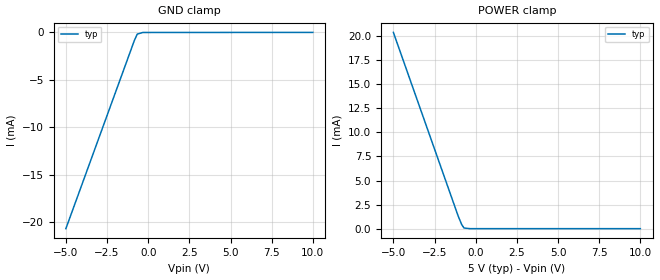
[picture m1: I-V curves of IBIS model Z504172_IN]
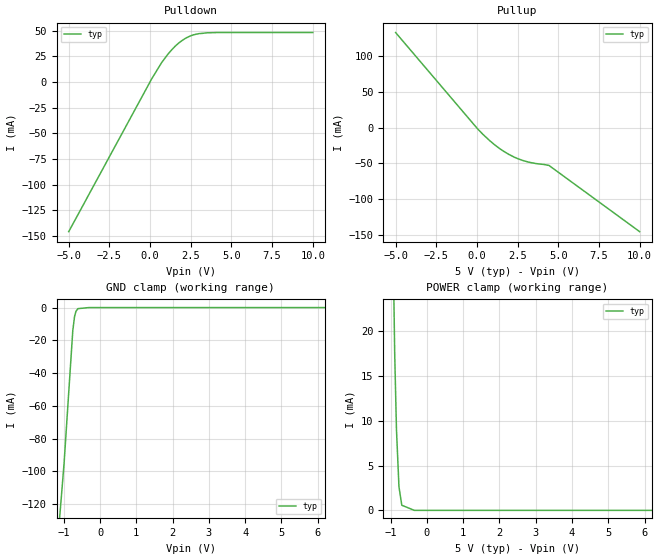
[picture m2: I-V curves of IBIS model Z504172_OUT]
| YOU ARE ONLY AUTHORIZED TO USE THIS SOFTWARE
| ACCORDING TO LICENSOR'S LICENSE RESTRICTIONS.
[IBIS Ver] 3.1
[File Name] mc74hc164d.ibs
[File Rev] 2.0
[Source] Measured and created by ICX Technology
[Date] Friday 7/14/00 9:08:08 AM
[Copyright]
| (C) COPYRIGHT 1993-2000
| MENTOR GRAPHICS CORPORATION
| ICX STANDARD LIBRARY, ICX PROJECT MODELING,
| ICX CUSTOM MODELING, ICX VENDOR MODEL
| ALL RIGHTS RESERVED.
| THE FOLLOWING ARE TRADEMARKS OR SERVICE MARKS OF
| MENTOR GRAPHICS CORPORATION:ICX (R), ICX STANDARD
| LIBRARY(R), ICX PROJECT MODELING(R), ICX CUSTOM
| MODELING(R), qualityIBIS(TM), MODELVIEWER(TM),
| AND MODELEDITOR(TM)
| ALL COPIES OF SOFTWARE, INCLUDING BUT NOT LIMITED TO
| ANY MODIFICATIONS, ENHANCEMENTS OR DERIVATIVE WORKS,
| MUST CONTAIN ALL MENTOR GRAPHICS CORPORATION'S
| NOTICES AND LEGENDS, INCLUDING THOSE EMBEDDED IN
| SOFTWARE AND THOSE AFFIXED TO SOFTWARE MEDIUM
| AND CONTAINER, AS RECEIVED FROM MENTOR GRAPHICS
| CORPORATION.
|  ZAP Model Builder 2.7
[Component] MC74HC164D
[Manufacturer] OnSemiconductor
[Package]
| variable   typ   min   max
R_pkg  .155ohms NA NA
L_pkg  3.028nH NA NA
C_pkg  .381pF NA NA
[Pin] signal_name  model_name  R_pin  L_pin C_pin
1 A Z504172_IN .16 3.587n .407p
2 B Z504172_IN .156 3.147n .387p
3 QA Z504172_OUT .152 2.717n .367p
4 QB Z504172_OUT .148 2.297n .347p
5 QC Z504172_OUT .152 2.717n .367p
6 QD Z504172_OUT .156 3.147n .387p
7 GROUND GND .16 3.587n .407p
8 CLK Z504172_IN .16 3.587n .407p
9 _CLR Z504172_IN .156 3.147n .387p
10 QE Z504172_OUT .152 2.717n .367p
11 QF Z504172_OUT .148 2.297n .347p
12 QG Z504172_OUT .152 2.717n .367p
13 QH Z504172_OUT .156 3.147n .387p
14 VCC POWER .16 3.587n .407p
| Models and submodels in the file (2): Z504172_IN (Input), Z504172_OUT (Output)
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| (C) COPYRIGHT 1993-2000
| MENTOR GRAPHICS CORPORATION
| ICX STANDARD LIBRARY, ICX PROJECT MODELING,
| ICX CUSTOM MODELING, ICX VENDOR MODEL
| ALL RIGHTS RESERVED.
| THE FOLLOWING ARE TRADEMARKS OR SERVICE MARKS OF
| MENTOR GRAPHICS CORPORATION:ICX (R), ICX STANDARD
| LIBRARY(R), ICX PROJECT MODELING(R), ICX CUSTOM
| MODELING(R), qualityIBIS(TM), MODELVIEWER(TM),
| AND MODELEDITOR(TM)
| ALL COPIES OF SOFTWARE, INCLUDING BUT NOT LIMITED TO
| ANY MODIFICATIONS, ENHANCEMENTS OR DERIVATIVE WORKS,
| MUST CONTAIN ALL MENTOR GRAPHICS CORPORATION'S
| NOTICES AND LEGENDS, INCLUDING THOSE EMBEDDED IN
| SOFTWARE AND THOSE AFFIXED TO SOFTWARE MEDIUM
| AND CONTAINER, AS RECEIVED FROM MENTOR GRAPHICS
| CORPORATION.
| Model Application Version 1.89 2/18/99.
[Model] Z504172_IN
Model_type Input
Vinl = 1.000V
Vinh = 3.500V
C_comp 4.000pF NA NA
| variable typ   min   max
[Voltage Range] 5.000V NA NA
[GND Clamp Reference] 0.000V NA NA
[POWER Clamp Reference] 5.000V NA NA
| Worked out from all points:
|   POWER clamp passes 1 mA (typ) near -0.99 V on its own axis
[GND Clamp]
-5V       -20.65mA   NA         NA
-839.8mV  -850.5uA   NA         NA
-664.1mV  -183.6uA   NA         NA
-332mV    -13.04uA   NA         NA
10V       -3.92uA    NA         NA
[POWER Clamp]
-5V       20.38mA    NA         NA
-1.059V   1.284mA    NA         NA
-848mV    418.4uA    NA         NA
-710mV    68.39uA    NA         NA
-355mV    0A         NA         NA
10V       0A         NA         NA
| (C) COPYRIGHT 1993-2000
| MENTOR GRAPHICS CORPORATION
| ICX STANDARD LIBRARY, ICX PROJECT MODELING,
| ICX CUSTOM MODELING, ICX VENDOR MODEL
| ALL RIGHTS RESERVED.
| THE FOLLOWING ARE TRADEMARKS OR SERVICE MARKS OF
| MENTOR GRAPHICS CORPORATION:ICX (R), ICX STANDARD
| LIBRARY(R), ICX PROJECT MODELING(R), ICX CUSTOM
| MODELING(R), qualityIBIS(TM), MODELVIEWER(TM),
| AND MODELEDITOR(TM)
| ALL COPIES OF SOFTWARE, INCLUDING BUT NOT LIMITED TO
| ANY MODIFICATIONS, ENHANCEMENTS OR DERIVATIVE WORKS,
| MUST CONTAIN ALL MENTOR GRAPHICS CORPORATION'S
| NOTICES AND LEGENDS, INCLUDING THOSE EMBEDDED IN
| SOFTWARE AND THOSE AFFIXED TO SOFTWARE MEDIUM
| AND CONTAINER, AS RECEIVED FROM MENTOR GRAPHICS
| CORPORATION.
| Model Application Version 1.89 2/18/99.
[Model] Z504172_OUT
Model_type Output
Vref=0.000V
Rref=500.0Mohms
Cref=50.00pF
Vmeas=2.500V
C_comp 8.000pF NA NA
| variable typ   min   max
[Voltage Range] 5.000V NA NA
[POWER Clamp Reference] 5.000V NA NA
[Pullup Reference] 5.000V NA NA
[Pulldown Reference] 0.000V NA NA
[GND Clamp Reference] 0.000V NA NA
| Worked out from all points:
|   slope of the pulldown table from 0 to 0.75 V, typ, clamps not added: 38.3 ohm
|   slope of the pullup table from 0 to 0.75 V, typ, clamps not added: 44.6 ohm
|   GND clamp passes 1 mA (typ) near -0.62 V on its own axis
|   POWER clamp passes 1 mA (typ) near -0.71 V on its own axis
[GND Clamp]
-5V       -1.184A    NA         NA
-992.4mV  -95.24mA   NA         NA
-751.6mV  -14.08mA   NA         NA
-703mV    -5.441mA   NA         NA
-663.8mV  -2.295mA   NA         NA
-609.4mV  -652uA     NA         NA
-304.7mV  0A         NA         NA
10V       0A         NA         NA
[Pulldown]
-5V       -145.8mA   NA         NA
102.8mV   3.093mA    NA         NA
704mV     18.68mA    NA         NA
1.075V    26.59mA    NA         NA
1.741V    37.65mA    NA         NA
2.217V    42.89mA    NA         NA
2.493V    44.93mA    NA         NA
2.832V    46.57mA    NA         NA
3.449V    47.83mA    NA         NA
10V       48.14mA    NA         NA
[Pullup]
-5V       132.6mA    NA         NA
39mV      -1.755mA   NA         NA
1.074V    -23.77mA   NA         NA
1.961V    -37.4mA    NA         NA
2.553V    -43.74mA   NA         NA
3.36V     -49.1mA    NA         NA
4.418V    -52.67mA   NA         NA
10V       -145.2mA   NA         NA
[POWER Clamp]
-5V       1.643A     NA         NA
-1.25V    136.5mA    NA         NA
-1.025V   54.71mA    NA         NA
-888mV    17.39mA    NA         NA
-840mV    9.022mA    NA         NA
-771mV    2.622mA    NA         NA
-693mV    571.1uA    NA         NA
-346.5mV  0A         NA         NA
10V       0A         NA         NA
[Ramp]
| variable typ min max
dV/dt_r 2.785/2.272n NA NA
dV/dt_f 2.785/2.122n NA NA
R_load = 500.0Ohms
